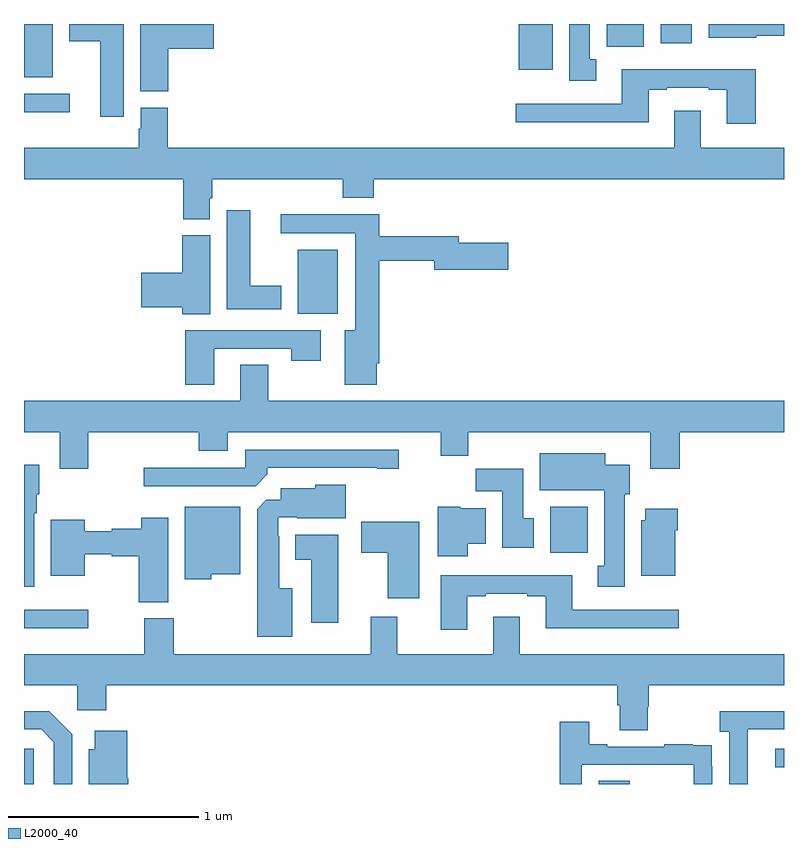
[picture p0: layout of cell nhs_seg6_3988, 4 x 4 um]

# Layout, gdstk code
import gdstk
lib = gdstk.Library(unit=1e-6, precision=1e-09)
def R(c, l, rs):  # rectangles x0, y0, x1, y1
    for r in rs: c.add(gdstk.rectangle(r[:2], r[2:], *l))
def P(c, l, *ps):  # polygons
    for p in ps: c.add(gdstk.Polygon(p, *l))
L2000_40 = (2000, 40)

nhs_seg6_3988 = lib.new_cell('nhs_seg6_3988')
R(nhs_seg6_3988, L2000_40, [(347,929.5,347.052,929.685), (350.024,929.5,350.188,929.516), (350.955,929.589,351,929.685), (347,930.32,347.338,930.417), (349.769,930.716,349.966,930.958), (348.44,931.976,348.652,932.311), (347,933.035,347.242,933.132), (347,933.221,347.152,933.5), (349.604,933.26,349.783,933.5), (350.066,933.38,350.263,933.5), (350.351,933.398,350.515,933.5)])
P(nhs_seg6_3988, L2000_40, [(347.759,933.371),(347.999,933.371),(347.999,933.5),(347.612,933.5),(347.612,933.145),(347.759,933.145)],
  [(350.854,933.439),(351,933.439),(351,933.5),(350.603,933.5),(350.603,933.428),(350.854,933.428)],
  [(350.011,933.314),(349.978,933.314),(349.978,933.5),(349.871,933.5),(349.871,933.201),(350.011,933.201)],
  [(347.524,933.5),(347.237,933.5),(347.237,933.41),(347.402,933.41),(347.402,933.012),(347.524,933.012)],
  [(350.852,933.262),(350.147,933.262),(350.147,933.081),(349.587,933.081),(349.587,932.984),(350.287,932.984),(350.287,933.153),(350.383,933.153),(350.383,933.165),(350.603,933.165),(350.603,933.153),(350.699,933.153),(350.699,932.976),(350.852,932.976)],
  [(347.977,932.583),(347.99,932.583),(347.99,932.684),(348.677,932.684),(348.677,932.585),(348.842,932.585),(348.842,932.684),(351,932.684),(351,932.848),(350.563,932.848),(350.563,933.043),(350.423,933.043),(350.423,932.848),(347.756,932.848),(347.756,933.06),(347.615,933.06),(347.615,932.949),(347.603,932.949),(347.603,932.848),(347,932.848),(347,932.684),(347.837,932.684),(347.837,932.473),(347.977,932.473)],
  [(348.355,932.122),(348.19,932.122),(348.19,932.521),(348.068,932.521),(348.068,932),(348.355,932)],
  [(348.856,931.714),(348.869,931.714),(348.869,932.254),(349.16,932.254),(349.16,932.207),(349.549,932.207),(349.549,932.349),(349.288,932.349),(349.288,932.383),(348.869,932.383),(348.869,932.498),(348.351,932.498),(348.351,932.4),(348.743,932.4),(348.743,931.888),(348.689,931.888),(348.689,931.602),(348.856,931.602)],
  [(347.98,932.388),(347.834,932.388),(347.834,932.192),(347.616,932.192),(347.616,932.009),(347.834,932.009),(347.834,931.972),(347.98,931.972)],
  [(348.001,931.791),(348.406,931.791),(348.406,931.728),(348.562,931.728),(348.562,931.887),(347.849,931.887),(347.849,931.602),(348.001,931.602)],
  [(347.337,931.352),(347.921,931.352),(347.921,931.253),(348.073,931.253),(348.073,931.352),(349.193,931.352),(349.193,931.228),(349.337,931.228),(349.337,931.352),(350.297,931.352),(350.297,931.158),(350.45,931.158),(350.45,931.352),(351,931.352),(351,931.516),(348.285,931.516),(348.285,931.706),(348.137,931.706),(348.137,931.516),(347,931.516),(347,931.352),(347.189,931.352),(347.189,931.158),(347.337,931.158)],
  [(348.281,931.13),(348.281,931.164),(348.86,931.164),(348.86,931.159),(348.973,931.159),(348.973,931.26),(348.165,931.26),(348.165,931.164),(347.631,931.164),(347.631,931.068),(348.219,931.068)],
  [(350.161,931.026),(350.188,931.026),(350.188,931.18),(350.059,931.18),(350.059,931.24),(349.715,931.24),(349.715,931.046),(350.054,931.046),(350.054,930.65),(350.021,930.65),(350.021,930.537),(350.161,930.537)],
  [(347.053,930.926),(347.068,930.926),(347.068,931.026),(347.08,931.026),(347.08,931.18),(347,931.18),(347,930.537),(347.053,930.537)],
  [(349.684,930.9),(349.627,930.9),(349.627,931.158),(349.378,931.158),(349.378,931.04),(349.517,931.04),(349.517,930.744),(349.684,930.744)],
  [(348.412,930.529),(348.343,930.529),(348.343,930.803),(348.339,930.803),(348.339,930.903),(348.439,930.903),(348.439,930.899),(348.694,930.899),(348.694,931.075),(348.534,931.075),(348.534,931.057),(348.35,931.057),(348.35,930.996),(348.276,930.996),(348.227,930.947),(348.227,930.275),(348.412,930.275)],
  [(349.336,930.764),(349.429,930.764),(349.429,930.952),(349.296,930.952),(349.296,930.958),(349.178,930.958),(349.178,930.699),(349.336,930.699)],
  [(347.985,930.605),(348.139,930.605),(348.139,930.958),(347.846,930.958),(347.846,930.578),(347.985,930.578)],
  [(350.428,930.836),(350.441,930.836),(350.441,930.949),(350.27,930.949),(350.27,930.888),(350.249,930.888),(350.249,930.596),(350.428,930.596)],
  [(347.758,930.901),(347.617,930.901),(347.617,930.843),(347.462,930.843),(347.462,930.829),(347.32,930.829),(347.32,930.892),(347.141,930.892),(347.141,930.596),(347.32,930.596),(347.32,930.708),(347.462,930.708),(347.462,930.7),(347.603,930.7),(347.603,930.457),(347.758,930.457)],
  [(349.081,930.88),(348.774,930.88),(348.774,930.718),(348.914,930.718),(348.914,930.477),(349.081,930.477)],
  [(348.655,930.811),(348.428,930.811),(348.428,930.68),(348.512,930.68),(348.512,930.348),(348.655,930.348)],
  [(349.333,930.489),(349.429,930.489),(349.429,930.501),(349.649,930.501),(349.649,930.489),(349.745,930.489),(349.745,930.32),(350.446,930.32),(350.446,930.417),(349.885,930.417),(349.885,930.598),(349.193,930.598),(349.193,930.312),(349.333,930.312)],
  [(348.824,930.379),(348.824,930.184),(347.787,930.184),(347.787,930.372),(347.632,930.372),(347.632,930.184),(347,930.184),(347,930.02),(347.28,930.02),(347.28,929.889),(347.432,929.889),(347.432,930.02),(350.123,930.02),(350.123,929.914),(350.135,929.914),(350.135,929.782),(350.283,929.782),(350.283,929.907),(350.288,929.907),(350.288,930.02),(351,930.02),(351,930.184),(349.609,930.184),(349.609,930.379),(349.469,930.379),(349.469,930.184),(348.964,930.184),(348.964,930.379)],
  [(350.808,929.587),(350.809,929.587),(350.809,929.787),(351,929.787),(351,929.884),(350.661,929.884),(350.661,929.774),(350.712,929.774),(350.712,929.5),(350.808,929.5)],
  [(347.253,929.763),(347.132,929.884),(347,929.884),(347,929.787),(347.091,929.787),(347.157,929.721),(347.157,929.5),(347.253,929.5)],
  [(349.935,929.601),(350.526,929.601),(350.526,929.5),(350.622,929.5),(350.622,929.594),(350.621,929.594),(350.621,929.703),(350.519,929.703),(350.519,929.71),(350.371,929.71),(350.371,929.697),(350.071,929.697),(350.071,929.71),(349.975,929.71),(349.975,929.827),(349.819,929.827),(349.819,929.5),(349.935,929.5)],
  [(347.549,929.53),(347.543,929.53),(347.543,929.779),(347.372,929.779),(347.372,929.683),(347.342,929.683),(347.342,929.5),(347.549,929.5)])

lib.write_gds('nhs_seg6_3988.gds')
